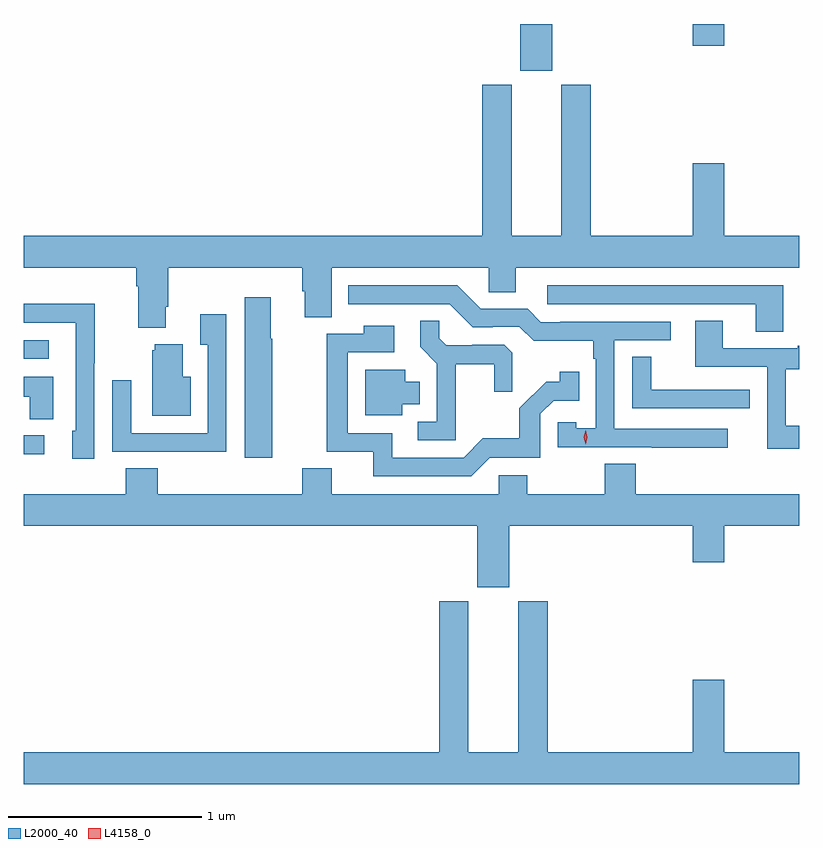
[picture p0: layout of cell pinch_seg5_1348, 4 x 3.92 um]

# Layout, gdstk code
import gdstk
lib = gdstk.Library(unit=1e-6, precision=1e-09)
def R(c, l, rs):  # rectangles x0, y0, x1, y1
    for r in rs: c.add(gdstk.rectangle(r[:2], r[2:], *l))
def P(c, l, *ps):  # polygons
    for p in ps: c.add(gdstk.Polygon(p, *l))
L2000_40 = (2000, 40)
L4158_0 = (4158, 0)

pinch_seg5_1348 = lib.new_cell('pinch_seg5_1348')
R(pinch_seg5_1348, L2000_40, [(305.414,902.417,305.518,902.514), (305.414,902.91,305.542,903.006), (307.976,904.395,308.14,904.637), (308.864,904.524,309.028,904.637)])
P(pinch_seg5_1348, L2000_40, [(306.145,903.178),(306.158,903.178),(306.158,903.38),(306.851,903.38),(306.851,903.258),(306.863,903.258),(306.863,903.124),(307.003,903.124),(307.003,903.38),(307.812,903.38),(307.812,903.253),(307.951,903.253),(307.951,903.38),(309.414,903.38),(309.414,903.544),(309.028,903.544),(309.028,903.919),(308.864,903.919),(308.864,903.544),(308.339,903.544),(308.339,904.323),(308.186,904.323),(308.186,903.544),(307.93,903.544),(307.93,904.323),(307.778,904.323),(307.778,903.544),(305.414,903.544),(305.414,903.38),(305.993,903.38),(305.993,903.284),(306.005,903.284),(306.005,903.071),(306.145,903.071)],
  [(309.046,902.55),(308.46,902.55),(308.46,903.006),(308.752,903.006),(308.752,903.102),(308.182,903.102),(308.182,903.099),(308.082,903.099),(308.013,903.168),(307.77,903.168),(307.65,903.288),(307.088,903.288),(307.088,903.192),(307.611,903.192),(307.731,903.072),(307.832,903.072),(307.832,903.075),(307.971,903.075),(308.044,903.002),(308.352,903.002),(308.352,902.909),(308.364,902.909),(308.364,902.551),(308.265,902.551),(308.265,902.583),(308.169,902.583),(308.169,902.454),(308.653,902.454),(308.653,902.452),(309.046,902.452)],
  [(309.331,903.288),(308.115,903.288),(308.115,903.192),(309.191,903.192),(309.191,903.049),(309.331,903.049)],
  [(306.696,903.013),(306.688,903.013),(306.688,903.226),(306.554,903.226),(306.554,902.4),(306.696,902.4)],
  [(305.778,902.887),(305.781,902.887),(305.781,903.194),(305.414,903.194),(305.414,903.096),(305.682,903.096),(305.682,902.538),(305.663,902.538),(305.663,902.394),(305.778,902.394)],
  [(306.459,903.139),(306.323,903.139),(306.323,902.983),(306.363,902.983),(306.363,902.526),(305.967,902.526),(305.967,902.8),(305.871,902.8),(305.871,902.43),(306.187,902.43),(306.187,902.429),(306.459,902.429)],
  [(309.414,902.565),(309.346,902.565),(309.346,902.856),(309.414,902.856),(309.414,902.977),(309.407,902.977),(309.407,902.964),(309.019,902.964),(309.019,903.107),(308.879,903.107),(308.879,902.868),(309.249,902.868),(309.249,902.445),(309.414,902.445)],
  [(307.643,902.882),(307.84,902.882),(307.84,902.739),(307.934,902.739),(307.934,902.941),(307.893,902.982),(307.728,902.982),(307.728,902.979),(307.594,902.979),(307.557,903.016),(307.557,903.107),(307.459,903.107),(307.459,902.971),(307.545,902.885),(307.545,902.586),(307.446,902.586),(307.446,902.49),(307.643,902.49)],
  [(307.818,902.4),(308.079,902.4),(308.079,902.625),(308.148,902.694),(308.279,902.694),(308.279,902.842),(308.178,902.842),(308.178,902.792),(308.108,902.792),(307.971,902.654),(307.971,902.499),(307.782,902.499),(307.683,902.4),(307.315,902.4),(307.315,902.526),(307.086,902.526),(307.086,902.943),(307.324,902.943),(307.324,903.079),(307.168,903.079),(307.168,903.039),(306.978,903.039),(306.978,902.43),(307.217,902.43),(307.217,902.304),(307.722,902.304)],
  [(306.274,902.818),(306.235,902.818),(306.235,902.986),(306.089,902.986),(306.089,902.955),(306.077,902.955),(306.077,902.615),(306.274,902.615)],
  [(309.16,902.75),(309.047,902.75),(309.047,902.751),(308.652,902.751),(308.652,902.921),(308.553,902.921),(308.553,902.655),(309.16,902.655)],
  [(307.366,902.675),(307.456,902.675),(307.456,902.791),(307.381,902.791),(307.381,902.854),(307.175,902.854),(307.175,902.618),(307.366,902.618)],
  [(305.566,902.818),(305.414,902.818),(305.414,902.714),(305.445,902.714),(305.445,902.599),(305.566,902.599)],
  [(307.918,902.048),(308.864,902.048),(308.864,901.86),(309.028,901.86),(309.028,902.048),(309.414,902.048),(309.414,902.212),(308.57,902.212),(308.57,902.369),(308.41,902.369),(308.41,902.212),(308.01,902.212),(308.01,902.31),(307.863,902.31),(307.863,902.212),(307.003,902.212),(307.003,902.345),(306.851,902.345),(306.851,902.212),(306.104,902.212),(306.104,902.345),(305.939,902.345),(305.939,902.212),(305.414,902.212),(305.414,902.048),(307.754,902.048),(307.754,901.731),(307.918,901.731)],
  [(309.414,900.88),(309.028,900.88),(309.028,901.255),(308.864,901.255),(308.864,900.88),(308.117,900.88),(308.117,901.659),(307.964,901.659),(307.964,900.88),(307.708,900.88),(307.708,901.659),(307.556,901.659),(307.556,900.88),(305.414,900.88),(305.414,900.716),(309.414,900.716)])
P(pinch_seg5_1348, L4158_0, [(308.312,902.469),(308.312,902.469),(308.302,902.505),(308.312,902.541),(308.312,902.541),(308.312,902.541),(308.322,902.505),(308.312,902.469)])

lib.write_gds('pinch_seg5_1348.gds')
